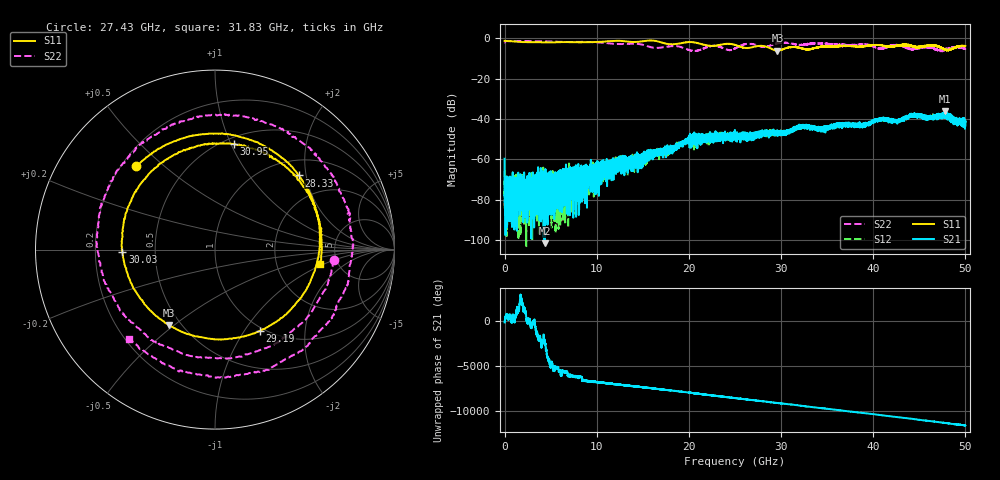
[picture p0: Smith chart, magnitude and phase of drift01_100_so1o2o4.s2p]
!Created with skrf (http://scikit-rf.org).
# Hz S RI R 50.0
!freq ReS11 ImS11 ReS21 ImS21 ReS12 ImS12 ReS22 ImS22
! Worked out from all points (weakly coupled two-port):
!   10001 points, 300 kHz to 50 GHz, reference 50 ohm
!   highest |S21| = -36.21 dB at 47.79 GHz (marker M1); lowest = -101.7 dB at 4.335 GHz (marker M2)
!   lowest |S11| = -6.2 dB at 29.61 GHz (marker M3), VSWR 2.93, Z = 21.7 - j24 ohm
!   |S11| at or under -10 dB: nowhere
!   |S22| runs from -6.5 to -1.4 dB; largest |S21 - S12| = 0.0041
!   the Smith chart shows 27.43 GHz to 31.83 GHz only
!   S11 on the Smith chart (normalised r, x): 27.43 GHz: 0.26, +0.41; 28.33 GHz: 1.34, +1.82; 29.19 GHz: 0.95, -1.18; 30.03 GHz: 0.32, -0.01; 30.95 GHz: 0.56, +1.02; 31.83 GHz: 3.65, -0.88
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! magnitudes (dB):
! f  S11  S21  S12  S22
! 300 kHz  -1.3  -59.7  -65.5  -2.1
! 270.3 MHz  -1.4  -81.5  -81.2  -1.4
! 4.335 GHz  -2.1  -101.7  -74.3  -1.5
! 8.335 GHz  -2.0  -66.8  -68.0  -1.8
! 16.67 GHz  -1.6  -56.5  -57.5  -4.8
! 18.62 GHz  -2.9  -53.5  -54.1  -3.9
! 20.61 GHz  -2.1  -51.2  -49.2  -6.3
! 22.6 GHz  -3.8  -50.2  -49.0  -3.8
! 25 GHz  -3.3  -47.5  -48.6  -5.1
! 27.43 GHz  -3.9  -48.0  -48.5  -3.6
! 28.33 GHz  -4.1  -47.1  -46.8  -4.2
! 29.19 GHz  -5.7  -47.9  -46.9  -3.1
! 29.61 GHz  -6.2  -47.4  -47.5  -2.5
! 30.03 GHz  -5.7  -46.9  -46.8  -2.3
! 30.95 GHz  -4.5  -45.9  -46.3  -2.5
! 31.83 GHz  -4.6  -44.2  -44.6  -3.2
! 33.34 GHz  -5.2  -44.4  -44.3  -2.6
! 41.67 GHz  -4.2  -41.3  -40.7  -4.2
! 44.53 GHz  -4.2  -38.3  -38.0  -5.5
! 46.48 GHz  -3.7  -39.5  -38.6  -4.9
! 47.79 GHz  -5.7  -36.2  -38.6  -5.6
! 50 GHz  -3.8  -41.3  -40.9  -5.3
